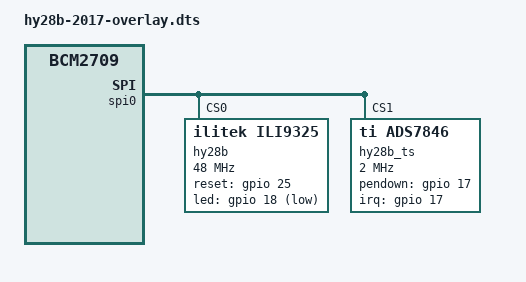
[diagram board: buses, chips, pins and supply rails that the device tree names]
/*
 * Device Tree overlay for HY28b display shield by Texy.
 * Modified for 2017 version with ILI9325 D chip
 */

/dts-v1/;
/plugin/;

/ {
	compatible = "brcm,bcm2835", "brcm,bcm2708", "brcm,bcm2709";

	fragment@0 {
		target = <&spi0>;
		__overlay__ {
			status = "okay";
		};
	};

	fragment@1 {
		target = <&spidev0>;
		__overlay__ {
			status = "disabled";
		};
	};

	fragment@2 {
		target = <&spidev1>;
		__overlay__ {
			status = "disabled";
		};
	};

	fragment@3 {
		target = <&gpio>;
		__overlay__ {
			hy28b_pins: hy28b_pins {
				brcm,pins = <17 25 18>;
				brcm,function = <0 1 1>; /* in out out */
			};
		};
	};

	fragment@4 {
		target = <&spi0>;
		__overlay__ {
			/* needed to avoid dtc warning */
			#address-cells = <1>;
			#size-cells = <0>;

			hy28b: hy28b@0{
				compatible = "ilitek,ili9325";
				reg = <0>;
				pinctrl-names = "default";
				pinctrl-0 = <&hy28b_pins>;

				spi-max-frequency = <48000000>;
				spi-cpol;
				spi-cpha;
				rotate = <270>;
				bgr;
				fps = <50>;
				buswidth = <8>;
				startbyte = <0x70>;
				reset-gpios = <&gpio 25 0>;
				led-gpios = <&gpio 18 1>;

				init = <0x10000e5 0x78F0
					0x1000001 0x0100
					0x1000002 0x0700
				        0x1000003 0x1030
					0x1000004 0x0000
					0x1000008 0x0207
					0x1000009 0x0000
				        0x100000a 0x0000
					0x100000c 0x0000
					0x100000d 0x0000
					0x100000f 0x0000
				        0x1000010 0x0000
					0x1000011 0x0007
					0x1000012 0x0000
					0x1000013 0x0000
					0x1000007 0x0001
				        0x2000032
				        0x2000032
				        0x2000032
				        0x2000032
					0x1000010 0x1090
					0x1000011 0x0227
				        0x2000032
					0x1000012 0x001f
				        0x2000032
				        0x1000013 0x1500
					0x1000029 0x0027
					0x100002b 0x000d
				        0x2000032
				        0x1000020 0x0000
					0x1000021 0x0000
				        0x2000032
					0x1000030 0x0000
					0x1000031 0x0707
					0x1000032 0x0307
					0x1000035 0x0200
					0x1000036 0x0008
					0x1000037 0x0004
					0x1000038 0x0000
					0x1000039 0x0707
					0x100003c 0x0002
					0x100003d 0x1d04
					0x1000050 0x0000
				        0x1000051 0x00ef
					0x1000052 0x0000
					0x1000053 0x013f
					0x1000060 0xa700
				        0x1000061 0x0001
					0x100006a 0x0000
					0x1000080 0x0000
					0x1000081 0x0000
				        0x1000082 0x0000
					0x1000083 0x0000
					0x1000084 0x0000
					0x1000085 0x0000
				        0x1000090 0x0010
					0x1000092 0x0600
					0x1000007 0x0133>;
				debug = <0>;
			};

			hy28b_ts: hy28b-ts@1 {
				compatible = "ti,ads7846";
				reg = <1>;

				spi-max-frequency = <2000000>;
				interrupts = <17 2>; /* high-to-low edge triggered */
				interrupt-parent = <&gpio>;
				pendown-gpio = <&gpio 17 0>;
				ti,x-plate-ohms = /bits/ 16 <100>;
				ti,pressure-max = /bits/ 16 <255>;
			};
		};
	};
	__overrides__ {
		speed = 	<&hy28b>,"spi-max-frequency:0";
		rotate = 	<&hy28b>,"rotate:0";
		fps = 		<&hy28b>,"fps:0";
		debug = 	<&hy28b>,"debug:0";
		xohms =		<&hy28b_ts>,"ti,x-plate-ohms;0";
		resetgpio =	<&hy28b>,"reset-gpios:4",
				<&hy28b_pins>, "brcm,pins:4";
		ledgpio =	<&hy28b>,"led-gpios:4",
				<&hy28b_pins>, "brcm,pins:8";
	};
};
